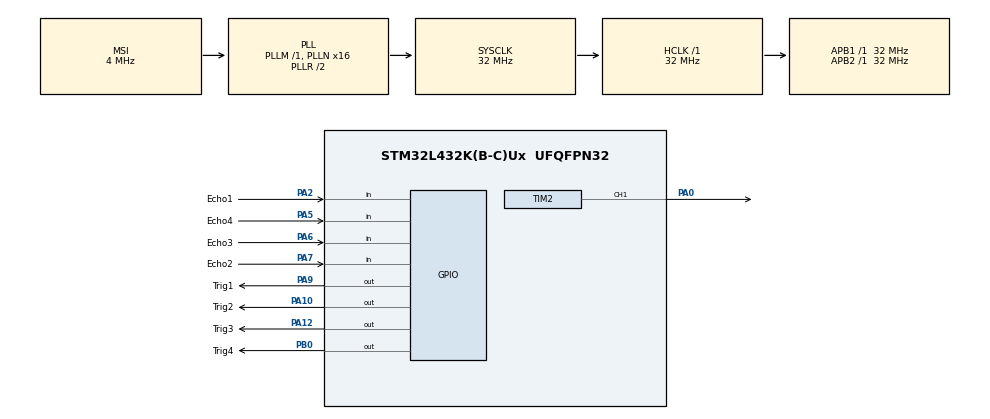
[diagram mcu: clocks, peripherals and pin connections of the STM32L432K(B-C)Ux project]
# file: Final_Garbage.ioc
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Mcu.Family=STM32L4
Mcu.Name=STM32L432K(B-C)Ux
Mcu.Package=UFQFPN32
NVIC.PriorityGroup=NVIC_PRIORITYGROUP_4
PA0.Signal=S_TIM2_CH1
PA10.GPIO_Label=Trig2
PA10.Signal=GPIO_Output
PA12.GPIO_Label=Trig3
PA12.Signal=GPIO_Output
PA2.GPIO_Label=Echo1
PA2.Signal=GPIO_Input
PA5.GPIO_Label=Echo4
PA5.Signal=GPIO_Input
PA6.GPIO_Label=Echo3
PA6.Signal=GPIO_Input
PA7.GPIO_Label=Echo2
PA7.Signal=GPIO_Input
PA9.GPIO_Label=Trig1
PA9.Signal=GPIO_Output
PB0.GPIO_Label=Trig4
PB0.Signal=GPIO_Output
ProjectManager.HeapSize=0x200
ProjectManager.StackSize=0x400
ProjectManager.TargetToolchain=TrueSTUDIO
RCC.AHBFreq_Value=32000000
RCC.APB1Freq_Value=32000000
RCC.APB1TimFreq_Value=32000000
RCC.APB2Freq_Value=32000000
RCC.APB2TimFreq_Value=32000000
RCC.CortexFreq_Value=32000000
RCC.HCLKFreq_Value=32000000
RCC.HSE_VALUE=8000000
RCC.HSI16_VALUE=16000000
RCC.HSI48_VALUE=48000000
RCC.HSI_VALUE=16000000
RCC.MSI_VALUE=4000000
RCC.PLLMUL=RCC_PLLMUL_4
RCC.PLLN=16
RCC.SYSCLKFreq_VALUE=32000000
RCC.SYSCLKSource=RCC_SYSCLKSOURCE_PLLCLK
RCC.VCOOutputFreq_Value=64000000
SH.S_TIM2_CH1.0=TIM2_CH1,PWM Generation1 CH1
TIM2.Channel-PWM\ Generation1\ CH1=TIM_CHANNEL_1
TIM2.Period=200
TIM2.Prescaler=100
VP_TIM2_VS_ClockSourceINT.Mode=Internal
board=NUCLEO-L432KC

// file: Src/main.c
/* USER CODE BEGIN Header */
/**
  ******************************************************************************
  * @file           : main.c
  * @brief          : Main program body
  ******************************************************************************
  * @attention
  *
  * <h2><center>&copy; Copyright (c) 2019 STMicroelectronics.
  * All rights reserved.</center></h2>
  *
  * This software component is licensed by ST under BSD 3-Clause license,
  * the "License"; You may not use this file except in compliance with the
  * License. You may obtain a copy of the License at:
  *                        opensource.org/licenses/BSD-3-Clause
  *
  ******************************************************************************
  */
/* USER CODE END Header */

#include "main.h"

/* USER CODE BEGIN Includes */
#include "dwt_stm32_delay.h"
/* USER CODE END Includes */

TIM_HandleTypeDef htim2;

void SystemClock_Config(void);
static void MX_GPIO_Init(void);
static void MX_TIM2_Init(void);

/* USER CODE BEGIN 0 */
/*
 SS1:
	 - Orange wire (Trig1) - D3 (PB0)
	 - Blue wire (Echo1) - A7 (PA2)

 SS2:
	 - Orange wire (Trig2) - D4 (PB7)
	 - Blue wire (Echo2) - A5 (PA6)

 SS3:
	 - Orange wire (Trig3) - D5 (PB6)
	 - Blue wire (Echo3) - A5 (PA6)
 */

uint32_t vreme, vremeSenzor;
uint32_t distanca1, distanca2, distanca3, distanca4, suma;

uint32_t chitanjeSenzor(GPIO_TypeDef* GPIO_T, uint16_t TRIG,GPIO_TypeDef* GPIO_E, uint16_t ECHO)
{
	vreme=0;

	HAL_GPIO_WritePin(GPIO_T, TRIG, GPIO_PIN_SET);
	HAL_Delay(1);
	//DWT_Delay_us (1);
	HAL_GPIO_WritePin(GPIO_T, TRIG, GPIO_PIN_RESET);

	while (!(HAL_GPIO_ReadPin(GPIO_E, ECHO)));
	while (HAL_GPIO_ReadPin(GPIO_E, ECHO))
	{
	vreme++;
	DWT_Delay_us (1);
	}
	return vreme*2;
}

//CALCULATE VOLUME DEMO
long plot=0; //plot to be calculated
int distance_between_sensors=2; //2cm
int distance_between_mid_sensors=4; //4cm

float radius = 9.5; //cm
float height = 19.0; //cm
volatile float my_volume;

float PI = 3.14;

volatile float procent;

//Function for setting volume
float init_volume(float current_plot){
  return current_plot * PI * radius;
}
//Function for returning the float value of the current volume
float c_volume(float plot){
  return plot * PI * radius;
}

float calculate(uint32_t Sensor1, uint32_t Sensor2,uint32_t Sensor3, uint32_t Sensor4){
  //Trapeziod rule
  plot = 0;
  //1st trapezoid
  plot+=(Sensor1+Sensor2)*distance_between_sensors/2;
  //2nd trapeziod
  plot+=(Sensor2+Sensor3)*distance_between_mid_sensors/2;
  //3rd trapeziod
  plot+=(Sensor3+Sensor4)*distance_between_sensors/2;
  return plot;
  }

/* USER CODE END 0 */

int main(void)
{
  /* USER CODE BEGIN 1 */
	 volatile float current_plot;
     volatile float my_volume;
     volatile float current_volume;
	 volatile float procent = 1;
     volatile int flag = 1; // TRUE - first time of measuri

  /* USER CODE END 1 */

  /* MCU Configuration--------------------------------------------------------*/

  /* Reset of all peripherals, Initializes the Flash interface and the Systick. */
  HAL_Init();

  /* Configure the system clock */
  SystemClock_Config();

  /* Initialize all configured peripherals */
  MX_GPIO_Init();
  MX_TIM2_Init();
  /* USER CODE BEGIN 2 */
  DWT_Delay_Init ();
  HAL_TIM_PWM_Start(&htim2, TIM_CHANNEL_1);  //tajmer 2, kanal 1 dava pwm izlez
  /* USER CODE END 2 */

  /* Infinite loop */
  while (1)
  {

    /* USER CODE BEGIN 3 */

	  //SERVO: Timer 2, Channel 1 gives PWM OUT

//Calculating volume of bin
	  current_plot = 0;
	  current_volume = 0;
	  procent = 1;
	  if(flag == 1) my_volume = 0;

		    for(int i=200;i<=750;i+=50){
		   			 __HAL_TIM_SetCompare(&htim2, TIM_CHANNEL_1, i);
		   			 HAL_Delay(400);
		   			vremeSenzor = chitanjeSenzor(GPIOA, GPIO_PIN_9, GPIOA, GPIO_PIN_2);
		   			distanca1  = vremeSenzor * .034/2;
		   			HAL_Delay(200);

		   			vremeSenzor = chitanjeSenzor(GPIOA, GPIO_PIN_10, GPIOA, GPIO_PIN_7);
		   			distanca2 = vremeSenzor * .034/2;
		   			HAL_Delay(200);

		   			vremeSenzor = chitanjeSenzor(GPIOA, GPIO_PIN_12, GPIOA, GPIO_PIN_6);
		   			distanca3 = vremeSenzor * .034/2;
		   			HAL_Delay(200);

		   			vremeSenzor = chitanjeSenzor(GPIOB, GPIO_PIN_0, GPIOA, GPIO_PIN_5);
		   			distanca4 = vremeSenzor * .034/2;
		   			HAL_Delay(200);

		   			current_plot+=calculate(distanca1,distanca2,distanca3,distanca4);
		   			HAL_Delay(100);
		    }

		    //Goes into this statement IF it measures for the first time
		    if(flag == 1){
		    	my_volume = init_volume(current_plot);
		    	flag = 0;
		    	HAL_Delay(100);
		    }
		    //Goes into this statement after setting the volume of the bin
		    else{
		    	current_volume = c_volume(current_plot);
		        procent = current_volume/my_volume;
		        procent = 100-procent*100;
		        HAL_Delay(100);
		    }

  }
  /* USER CODE END 3 */
}

void SystemClock_Config(void)
{
  RCC_OscInitTypeDef RCC_OscInitStruct = {0};
  RCC_ClkInitTypeDef RCC_ClkInitStruct = {0};

  /** Initializes the CPU, AHB and APB busses clocks
  */
  RCC_OscInitStruct.OscillatorType = RCC_OSCILLATORTYPE_MSI;
  RCC_OscInitStruct.MSIState = RCC_MSI_ON;
  RCC_OscInitStruct.MSICalibrationValue = 0;
  RCC_OscInitStruct.MSIClockRange = RCC_MSIRANGE_6;
  RCC_OscInitStruct.PLL.PLLState = RCC_PLL_ON;
  RCC_OscInitStruct.PLL.PLLSource = RCC_PLLSOURCE_MSI;
  RCC_OscInitStruct.PLL.PLLM = 1;
  RCC_OscInitStruct.PLL.PLLN = 16;
  RCC_OscInitStruct.PLL.PLLP = RCC_PLLP_DIV7;
  RCC_OscInitStruct.PLL.PLLQ = RCC_PLLQ_DIV2;
  RCC_OscInitStruct.PLL.PLLR = RCC_PLLR_DIV2;
  if (HAL_RCC_OscConfig(&RCC_OscInitStruct) != HAL_OK)
  {
    Error_Handler();
  }
  /** Initializes the CPU, AHB and APB busses clocks
  */
  RCC_ClkInitStruct.ClockType = RCC_CLOCKTYPE_HCLK|RCC_CLOCKTYPE_SYSCLK
                              |RCC_CLOCKTYPE_PCLK1|RCC_CLOCKTYPE_PCLK2;
  RCC_ClkInitStruct.SYSCLKSource = RCC_SYSCLKSOURCE_PLLCLK;
  RCC_ClkInitStruct.AHBCLKDivider = RCC_SYSCLK_DIV1;
  RCC_ClkInitStruct.APB1CLKDivider = RCC_HCLK_DIV1;
  RCC_ClkInitStruct.APB2CLKDivider = RCC_HCLK_DIV1;

  if (HAL_RCC_ClockConfig(&RCC_ClkInitStruct, FLASH_LATENCY_1) != HAL_OK)
  {
    Error_Handler();
  }
  /** Configure the main internal regulator output voltage
  */
  if (HAL_PWREx_ControlVoltageScaling(PWR_REGULATOR_VOLTAGE_SCALE1) != HAL_OK)
  {
    Error_Handler();
  }
}

static void MX_TIM2_Init(void)
{

  TIM_ClockConfigTypeDef sClockSourceConfig = {0};
  TIM_MasterConfigTypeDef sMasterConfig = {0};
  TIM_OC_InitTypeDef sConfigOC = {0};

  htim2.Instance = TIM2;
  htim2.Init.Prescaler = 100;
  htim2.Init.CounterMode = TIM_COUNTERMODE_UP;
  htim2.Init.Period = 2000;
  htim2.Init.ClockDivision = TIM_CLOCKDIVISION_DIV1;
  htim2.Init.AutoReloadPreload = TIM_AUTORELOAD_PRELOAD_DISABLE;
  if (HAL_TIM_Base_Init(&htim2) != HAL_OK)
  {
    Error_Handler();
  }
  sClockSourceConfig.ClockSource = TIM_CLOCKSOURCE_INTERNAL;
  if (HAL_TIM_ConfigClockSource(&htim2, &sClockSourceConfig) != HAL_OK)
  {
    Error_Handler();
  }
  if (HAL_TIM_PWM_Init(&htim2) != HAL_OK)
  {
    Error_Handler();
  }
  sMasterConfig.MasterOutputTrigger = TIM_TRGO_RESET;
  sMasterConfig.MasterSlaveMode = TIM_MASTERSLAVEMODE_DISABLE;
  if (HAL_TIMEx_MasterConfigSynchronization(&htim2, &sMasterConfig) != HAL_OK)
  {
    Error_Handler();
  }
  sConfigOC.OCMode = TIM_OCMODE_PWM1;
  sConfigOC.Pulse = 0;
  sConfigOC.OCPolarity = TIM_OCPOLARITY_HIGH;
  sConfigOC.OCFastMode = TIM_OCFAST_DISABLE;
  if (HAL_TIM_PWM_ConfigChannel(&htim2, &sConfigOC, TIM_CHANNEL_1) != HAL_OK)
  {
    Error_Handler();
  }
  HAL_TIM_MspPostInit(&htim2);

}

static void MX_GPIO_Init(void)
{
  GPIO_InitTypeDef GPIO_InitStruct = {0};

  /* GPIO Ports Clock Enable */
  __HAL_RCC_GPIOA_CLK_ENABLE();
  __HAL_RCC_GPIOB_CLK_ENABLE();

  /*Configure GPIO pin Output Level */
  HAL_GPIO_WritePin(Trig4_GPIO_Port, Trig4_Pin, GPIO_PIN_RESET);

  /*Configure GPIO pin Output Level */
  HAL_GPIO_WritePin(GPIOA, Trig1_Pin|Trig2_Pin|Trig3_Pin, GPIO_PIN_RESET);

  /*Configure GPIO pins : Echo1_Pin Echo4_Pin Echo3_Pin Echo2_Pin */
  GPIO_InitStruct.Pin = Echo1_Pin|Echo4_Pin|Echo3_Pin|Echo2_Pin;
  GPIO_InitStruct.Mode = GPIO_MODE_INPUT;
  GPIO_InitStruct.Pull = GPIO_NOPULL;
  HAL_GPIO_Init(GPIOA, &GPIO_InitStruct);

  /*Configure GPIO pin : Trig4_Pin */
  GPIO_InitStruct.Pin = Trig4_Pin;
  GPIO_InitStruct.Mode = GPIO_MODE_OUTPUT_PP;
  GPIO_InitStruct.Pull = GPIO_NOPULL;
  GPIO_InitStruct.Speed = GPIO_SPEED_FREQ_LOW;
  HAL_GPIO_Init(Trig4_GPIO_Port, &GPIO_InitStruct);

  /*Configure GPIO pins : Trig1_Pin Trig2_Pin Trig3_Pin */
  GPIO_InitStruct.Pin = Trig1_Pin|Trig2_Pin|Trig3_Pin;
  GPIO_InitStruct.Mode = GPIO_MODE_OUTPUT_PP;
  GPIO_InitStruct.Pull = GPIO_NOPULL;
  GPIO_InitStruct.Speed = GPIO_SPEED_FREQ_LOW;
  HAL_GPIO_Init(GPIOA, &GPIO_InitStruct);

}

void Error_Handler(void)
{
}

/************************ (C) COPYRIGHT STMicroelectronics *****END OF FILE****/
